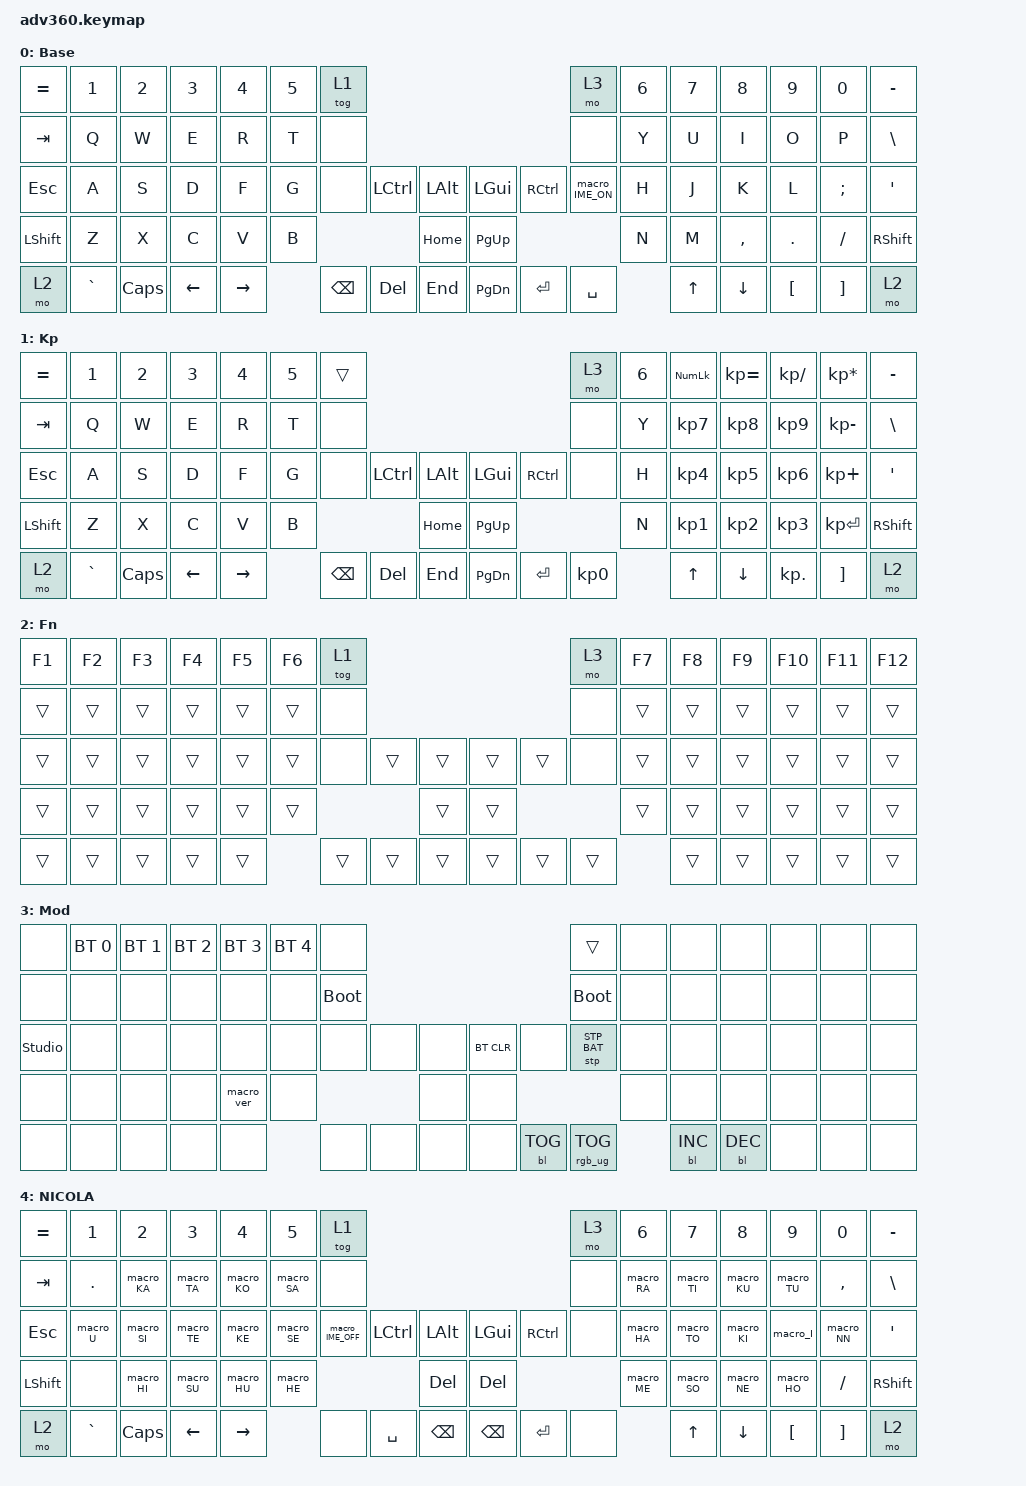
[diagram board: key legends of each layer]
#include <dt-bindings/zmk/stp.h>
#include <behaviors.dtsi>
#include <dt-bindings/zmk/backlight.h>
#include <dt-bindings/zmk/bt.h>
#include <dt-bindings/zmk/keys.h>
#include <dt-bindings/zmk/rgb.h>

/ {
    behaviors {
        #include "macros.dtsi"
      #include "version.dtsi"

        hm: homerow_mods {
            compatible = "zmk,behavior-hold-tap";
            label = "HOMEROW_MODS";
            #binding-cells = <2>;
            tapping-term-ms = <200>;
            quick_tap_ms = <175>;
            flavor = "tap-preferred";
            bindings = <&kp>, <&kp>;
        };
    };

    macros {
        macro_A: macro_A {
            compatible = "zmk,behavior-macro";
            #binding-cells = <0>;
            bindings = <&kp A>;
            label = "MACRO_A";
        };

        macro_I: macro_I {
            compatible = "zmk,behavior-macro";
            #binding-cells = <0>;
            bindings = <&kp I>;
            label = "MACRO_I";
        };

        macro_U: macro_U {
            compatible = "zmk,behavior-macro";
            #binding-cells = <0>;
            bindings = <&kp U>;
            label = "MACRO_U";
        };

        macro_E: macro_E {
            compatible = "zmk,behavior-macro";
            #binding-cells = <0>;
            bindings = <&kp E>;
            label = "MACRO_E";
        };

        macro_O: macro_O {
            compatible = "zmk,behavior-macro";
            #binding-cells = <0>;
            bindings = <&kp O>;
            label = "MACRO_O";
        };

        macro_KA: macro_KA {
            compatible = "zmk,behavior-macro";
            #binding-cells = <0>;
            bindings = <&kp K &kp A>;
            label = "MACRO_KA";
        };

        macro_KI: macro_KI {
            compatible = "zmk,behavior-macro";
            #binding-cells = <0>;
            bindings = <&kp K &kp I>;
            label = "MACRO_KI";
        };

        macro_KU: macro_KU {
            compatible = "zmk,behavior-macro";
            #binding-cells = <0>;
            bindings = <&kp K &kp U>;
            label = "MACRO_KU";
        };

        macro_KE: macro_KE {
            compatible = "zmk,behavior-macro";
            #binding-cells = <0>;
            bindings = <&kp K &kp E>;
            label = "MACRO_KE";
        };

        macro_KO: macro_KO {
            compatible = "zmk,behavior-macro";
            #binding-cells = <0>;
            bindings = <&kp K &kp O>;
            label = "MACRO_KO";
        };

        macro_SA: macro_SA {
            compatible = "zmk,behavior-macro";
            #binding-cells = <0>;
            bindings = <&kp S &kp A>;
            label = "MACRO_SA";
        };

        macro_SI: macro_SI {
            compatible = "zmk,behavior-macro";
            #binding-cells = <0>;
            bindings = <&kp S &kp I>;
            label = "MACRO_SI";
        };

        macro_SU: macro_SU {
            compatible = "zmk,behavior-macro";
            #binding-cells = <0>;
            bindings = <&kp S &kp U>;
            label = "MACRO_SU";
        };

        macro_SE: macro_SE {
            compatible = "zmk,behavior-macro";
            #binding-cells = <0>;
            bindings = <&kp S &kp E>;
            label = "MACRO_SE";
        };

        macro_SO: macro_SO {
            compatible = "zmk,behavior-macro";
            #binding-cells = <0>;
            bindings = <&kp S &kp O>;
            label = "MACRO_SO";
        };

        macro_TA: macro_TA {
            compatible = "zmk,behavior-macro";
            #binding-cells = <0>;
            bindings = <&kp T &kp A>;
            label = "MACRO_TA";
        };

        macro_TI: macro_TI {
            compatible = "zmk,behavior-macro";
            #binding-cells = <0>;
            bindings = <&kp T &kp I>;
            label = "MACRO_TI";
        };

        macro_TU: macro_TU {
            compatible = "zmk,behavior-macro";
            #binding-cells = <0>;
            bindings = <&kp T &kp U>;
            label = "MACRO_TU";
        };

        macro_TE: macro_TE {
            compatible = "zmk,behavior-macro";
            #binding-cells = <0>;
            bindings = <&kp T &kp E>;
            label = "MACRO_TE";
        };

        macro_TO: macro_TO {
            compatible = "zmk,behavior-macro";
            #binding-cells = <0>;
            bindings = <&kp T &kp O>;
            label = "MACRO_TO";
        };

        macro_NA: macro_NA {
            compatible = "zmk,behavior-macro";
            #binding-cells = <0>;
            bindings = <&kp N &kp A>;
            label = "MACRO_NA";
        };

        macro_NI: macro_NI {
            compatible = "zmk,behavior-macro";
            #binding-cells = <0>;
            bindings = <&kp N &kp I>;
            label = "MACRO_NI";
        };

        macro_NU: macro_NU {
            compatible = "zmk,behavior-macro";
            #binding-cells = <0>;
            bindings = <&kp N &kp U>;
            label = "MACRO_NU";
        };

        macro_NE: macro_NE {
            compatible = "zmk,behavior-macro";
            #binding-cells = <0>;
            bindings = <&kp N &kp E>;
            label = "MACRO_NE";
        };

        macro_NO: macro_NO {
            compatible = "zmk,behavior-macro";
            #binding-cells = <0>;
            bindings = <&kp N &kp O>;
            label = "MACRO_NO";
        };

        macro_HA: macro_HA {
            compatible = "zmk,behavior-macro";
            #binding-cells = <0>;
            bindings = <&kp H &kp A>;
            label = "MACRO_HA";
        };

        macro_HI: macro_HI {
            compatible = "zmk,behavior-macro";
            #binding-cells = <0>;
            bindings = <&kp H &kp I>;
            label = "MACRO_HI";
        };

        macro_HU: macro_HU {
            compatible = "zmk,behavior-macro";
            #binding-cells = <0>;
            bindings = <&kp H &kp U>;
            label = "MACRO_HU";
        };

        macro_HE: macro_HE {
            compatible = "zmk,behavior-macro";
            #binding-cells = <0>;
            bindings = <&kp H &kp E>;
            label = "MACRO_HE";
        };

        macro_HO: macro_HO {
            compatible = "zmk,behavior-macro";
            #binding-cells = <0>;
            bindings = <&kp H &kp O>;
            label = "MACRO_HO";
        };

        macro_MA: macro_MA {
            compatible = "zmk,behavior-macro";
            #binding-cells = <0>;
            bindings = <&kp M &kp A>;
            label = "MACRO_MA";
        };

        macro_MI: macro_MI {
            compatible = "zmk,behavior-macro";
            #binding-cells = <0>;
            bindings = <&kp M &kp I>;
            label = "MACRO_MI";
        };

        macro_MU: macro_MU {
            compatible = "zmk,behavior-macro";
            #binding-cells = <0>;
            bindings = <&kp M &kp U>;
            label = "MACRO_MU";
        };

        macro_ME: macro_ME {
            compatible = "zmk,behavior-macro";
            #binding-cells = <0>;
            bindings = <&kp M &kp E>;
            label = "MACRO_ME";
        };

        macro_MO: macro_MO {
            compatible = "zmk,behavior-macro";
            #binding-cells = <0>;
            bindings = <&kp M &kp O>;
            label = "MACRO_MO";
        };

        macro_YA: macro_YA {
            compatible = "zmk,behavior-macro";
            #binding-cells = <0>;
            bindings = <&kp Y &kp A>;
            label = "MACRO_YA";
        };

        macro_YU: macro_YU {
            compatible = "zmk,behavior-macro";
            #binding-cells = <0>;
            bindings = <&kp Y &kp U>;
            label = "MACRO_YU";
        };

        macro_YO: macro_YO {
            compatible = "zmk,behavior-macro";
            #binding-cells = <0>;
            bindings = <&kp Y &kp O>;
            label = "MACRO_YO";
        };

        macro_RA: macro_RA {
            compatible = "zmk,behavior-macro";
            #binding-cells = <0>;
            bindings = <&kp R &kp A>;
            label = "MACRO_RA";
        };

        macro_RI: macro_RI {
            compatible = "zmk,behavior-macro";
            #binding-cells = <0>;
            bindings = <&kp R &kp I>;
            label = "MACRO_RI";
        };

        macro_RU: macro_RU {
            compatible = "zmk,behavior-macro";
            #binding-cells = <0>;
            bindings = <&kp R &kp U>;
            label = "MACRO_RU";
        };

        macro_RE: macro_RE {
            compatible = "zmk,behavior-macro";
            #binding-cells = <0>;
            bindings = <&kp R &kp E>;
            label = "MACRO_RE";
        };

        macro_RO: macro_RO {
            compatible = "zmk,behavior-macro";
            #binding-cells = <0>;
            bindings = <&kp R &kp O>;
            label = "MACRO_RO";
        };

        macro_WA: macro_WA {
            compatible = "zmk,behavior-macro";
            #binding-cells = <0>;
            bindings = <&kp W &kp A>;
            label = "MACRO_WA";
        };

        macro_WO: macro_WO {
            compatible = "zmk,behavior-macro";
            #binding-cells = <0>;
            bindings = <&kp W &kp O>;
            label = "MACRO_WO";
        };

        macro_NN: macro_NN {
            compatible = "zmk,behavior-macro";
            #binding-cells = <0>;
            bindings = <&kp N &kp N>;
            label = "MACRO_NN";
        };

        macro_GA: macro_GA {
            compatible = "zmk,behavior-macro";
            #binding-cells = <0>;
            bindings = <&kp G &kp A>;
            label = "MACRO_GA";
        };

        macro_GI: macro_GI {
            compatible = "zmk,behavior-macro";
            #binding-cells = <0>;
            bindings = <&kp G &kp I>;
            label = "MACRO_GI";
        };

        macro_GU: macro_GU {
            compatible = "zmk,behavior-macro";
            #binding-cells = <0>;
            bindings = <&kp G &kp U>;
            label = "MACRO_GU";
        };

        macro_GE: macro_GE {
            compatible = "zmk,behavior-macro";
            #binding-cells = <0>;
            bindings = <&kp G &kp E>;
            label = "MACRO_GE";
        };

        macro_GO: macro_GO {
            compatible = "zmk,behavior-macro";
            #binding-cells = <0>;
            bindings = <&kp G &kp O>;
            label = "MACRO_GO";
        };

        macro_ZA: macro_ZA {
            compatible = "zmk,behavior-macro";
            #binding-cells = <0>;
            bindings = <&kp Z &kp A>;
            label = "MACRO_ZA";
        };

        macro_ZI: macro_ZI {
            compatible = "zmk,behavior-macro";
            #binding-cells = <0>;
            bindings = <&kp Z &kp I>;
            label = "MACRO_ZI";
        };

        macro_ZU: macro_ZU {
            compatible = "zmk,behavior-macro";
            #binding-cells = <0>;
            bindings = <&kp Z &kp U>;
            label = "MACRO_ZU";
        };

        macro_ZE: macro_ZE {
            compatible = "zmk,behavior-macro";
            #binding-cells = <0>;
            bindings = <&kp Z &kp E>;
            label = "MACRO_ZE";
        };

        macro_ZO: macro_ZO {
            compatible = "zmk,behavior-macro";
            #binding-cells = <0>;
            bindings = <&kp Z &kp O>;
            label = "MACRO_ZO";
        };

        macro_DA: macro_DA {
            compatible = "zmk,behavior-macro";
            #binding-cells = <0>;
            bindings = <&kp D &kp A>;
            label = "MACRO_DA";
        };

        macro_DI: macro_DI {
            compatible = "zmk,behavior-macro";
            #binding-cells = <0>;
            bindings = <&kp D &kp I>;
            label = "MACRO_DI";
        };

        macro_DU: macro_DU {
            compatible = "zmk,behavior-macro";
            #binding-cells = <0>;
            bindings = <&kp D &kp U>;
            label = "MACRO_DU";
        };

        macro_DE: macro_DE {
            compatible = "zmk,behavior-macro";
            #binding-cells = <0>;
            bindings = <&kp D &kp E>;
            label = "MACRO_DE";
        };

        macro_DO: macro_DO {
            compatible = "zmk,behavior-macro";
            #binding-cells = <0>;
            bindings = <&kp D &kp O>;
            label = "MACRO_DO";
        };

        macro_BA: macro_BA {
            compatible = "zmk,behavior-macro";
            #binding-cells = <0>;
            bindings = <&kp B &kp A>;
            label = "MACRO_BA";
        };

        macro_BI: macro_BI {
            compatible = "zmk,behavior-macro";
            #binding-cells = <0>;
            bindings = <&kp B &kp I>;
            label = "MACRO_BI";
        };

        macro_BU: macro_BU {
            compatible = "zmk,behavior-macro";
            #binding-cells = <0>;
            bindings = <&kp B &kp U>;
            label = "MACRO_BU";
        };

        macro_BE: macro_BE {
            compatible = "zmk,behavior-macro";
            #binding-cells = <0>;
            bindings = <&kp B &kp E>;
            label = "MACRO_BE";
        };

        macro_BO: macro_BO {
            compatible = "zmk,behavior-macro";
            #binding-cells = <0>;
            bindings = <&kp B &kp O>;
            label = "MACRO_BO";
        };

        macro_PA: macro_PA {
            compatible = "zmk,behavior-macro";
            #binding-cells = <0>;
            bindings = <&kp P &kp A>;
            label = "MACRO_PA";
        };

        macro_PI: macro_PI {
            compatible = "zmk,behavior-macro";
            #binding-cells = <0>;
            bindings = <&kp P &kp I>;
            label = "MACRO_PI";
        };

        macro_PU: macro_PU {
            compatible = "zmk,behavior-macro";
            #binding-cells = <0>;
            bindings = <&kp P &kp U>;
            label = "MACRO_PU";
        };

        macro_PE: macro_PE {
            compatible = "zmk,behavior-macro";
            #binding-cells = <0>;
            bindings = <&kp P &kp E>;
            label = "MACRO_PE";
        };

        macro_PO: macro_PO {
            compatible = "zmk,behavior-macro";
            #binding-cells = <0>;
            bindings = <&kp P &kp O>;
            label = "MACRO_PO";
        };

        macro_VU: macro_VU {
            compatible = "zmk,behavior-macro";
            #binding-cells = <0>;
            bindings = <&kp V &kp U>;
            label = "MACRO_VU";
        };

        macro_LA: macro_LA {
            compatible = "zmk,behavior-macro";
            #binding-cells = <0>;
            bindings = <&kp L &kp A>;
            label = "MACRO_LA";
        };

        macro_LI: macro_LI {
            compatible = "zmk,behavior-macro";
            #binding-cells = <0>;
            bindings = <&kp L &kp I>;
            label = "MACRO_LI";
        };

        macro_LU: macro_LU {
            compatible = "zmk,behavior-macro";
            #binding-cells = <0>;
            bindings = <&kp L &kp U>;
            label = "MACRO_LU";
        };

        macro_LE: macro_LE {
            compatible = "zmk,behavior-macro";
            #binding-cells = <0>;
            bindings = <&kp L &kp E>;
            label = "MACRO_LE";
        };

        macro_LO: macro_LO {
            compatible = "zmk,behavior-macro";
            #binding-cells = <0>;
            bindings = <&kp L &kp O>;
            label = "MACRO_LO";
        };

        macro_LYA: macro_LYA {
            compatible = "zmk,behavior-macro";
            #binding-cells = <0>;
            bindings = <&kp L &kp Y &kp A>;
            label = "MACRO_LYA";
        };

        macro_LYU: macro_LYU {
            compatible = "zmk,behavior-macro";
            #binding-cells = <0>;
            bindings = <&kp L &kp Y &kp U>;
            label = "MACRO_LYU";
        };

        macro_LYO: macro_LYO {
            compatible = "zmk,behavior-macro";
            #binding-cells = <0>;
            bindings = <&kp L &kp Y &kp O>;
            label = "MACRO_LYO";
        };

        macro_LTU: macro_LTU {
            compatible = "zmk,behavior-macro";
            #binding-cells = <0>;
            bindings = <&kp L &kp T &kp U>;
            label = "MACRO_LTU";
        };

        macro_IME_ON: macro_IME_ON {
            compatible = "zmk,behavior-macro";
            #binding-cells = <0>;
            bindings = <&kp INTERNATIONAL_4 &to 4>;
            label = "MACRO_IME_ON";
        };

        macro_IME_OFF: macro_IME_OFF {
            compatible = "zmk,behavior-macro";
            #binding-cells = <0>;
            bindings = <&kp INTERNATIONAL_5 &to 0>;
            label = "MACRO_IME_OFF";
        };
    };

    combos {
        compatible = "zmk,combos";

        combo_LA {
            bindings = <&macro_LA>;
            key-positions = <15 65>;
            timeout-ms = <50>;
            layers = <4>;
        };

        combo_E {
            bindings = <&macro_E>;
            key-positions = <16 65>;
            timeout-ms = <50>;
            layers = <4>;
        };

        combo_RI {
            bindings = <&macro_RI>;
            key-positions = <65 17>;
            timeout-ms = <50>;
            layers = <4>;
        };

        combo_LYA {
            bindings = <&macro_LYA>;
            key-positions = <65 18>;
            timeout-ms = <50>;
            layers = <4>;
        };

        combo_RE {
            bindings = <&macro_RE>;
            key-positions = <65 19>;
            timeout-ms = <50>;
            layers = <4>;
        };

        combo_YO {
            bindings = <&macro_YO>;
            key-positions = <22 70>;
            timeout-ms = <50>;
            layers = <4>;
        };

        combo_NI {
            bindings = <&macro_NI>;
            key-positions = <70 23>;
            timeout-ms = <50>;
            layers = <4>;
        };

        combo_RU {
            bindings = <&macro_RU>;
            key-positions = <70 24>;
            timeout-ms = <50>;
            layers = <4>;
        };

        combo_MA {
            bindings = <&macro_MA>;
            key-positions = <70 25>;
            timeout-ms = <50>;
            layers = <4>;
        };

        combo_LE {
            bindings = <&macro_LE>;
            key-positions = <70 26>;
            timeout-ms = <50>;
            layers = <4>;
        };

        combo_WO {
            bindings = <&macro_WO>;
            key-positions = <29 65>;
            timeout-ms = <50>;
            layers = <4>;
        };

        combo_A {
            bindings = <&macro_A>;
            key-positions = <65 30>;
            timeout-ms = <50>;
            layers = <4>;
        };

        combo_NA {
            bindings = <&macro_NA>;
            key-positions = <65 31>;
            timeout-ms = <50>;
            layers = <4>;
        };

        combo_LYU {
            bindings = <&macro_LYU>;
            key-positions = <65 32>;
            timeout-ms = <50>;
            layers = <4>;
        };

        combo_MO {
            bindings = <&macro_MO>;
            key-positions = <65 33>;
            timeout-ms = <50>;
            layers = <4>;
        };

        combo_MI {
            bindings = <&macro_MI>;
            key-positions = <40 70>;
            timeout-ms = <50>;
            layers = <4>;
        };

        combo_O {
            bindings = <&macro_O>;
            key-positions = <70 41>;
            timeout-ms = <50>;
            layers = <4>;
        };

        combo_NO {
            bindings = <&macro_NO>;
            key-positions = <70 42>;
            timeout-ms = <50>;
            layers = <4>;
        };

        combo_LYO {
            bindings = <&macro_LYO>;
            key-positions = <70 43>;
            timeout-ms = <50>;
            layers = <4>;
        };

        combo_LTU {
            bindings = <&macro_LTU>;
            key-positions = <70 44>;
            timeout-ms = <50>;
            layers = <4>;
        };

        combo_LU {
            bindings = <&macro_LU>;
            key-positions = <47 65>;
            timeout-ms = <50>;
            layers = <4>;
        };

        combo_HYPHEN {
            bindings = <&kp MINUS>;
            key-positions = <65 48>;
            timeout-ms = <50>;
            layers = <4>;
        };

        combo_RO {
            bindings = <&macro_RO>;
            key-positions = <65 49>;
            timeout-ms = <50>;
            layers = <4>;
        };

        combo_YA {
            bindings = <&macro_YA>;
            key-positions = <65 50>;
            timeout-ms = <50>;
            layers = <4>;
        };

        combo_LI {
            bindings = <&macro_LI>;
            key-positions = <65 51>;
            timeout-ms = <50>;
            layers = <4>;
        };

        combo_NU {
            bindings = <&macro_NU>;
            key-positions = <54 70>;
            timeout-ms = <50>;
            layers = <4>;
        };

        combo_YU {
            bindings = <&macro_YU>;
            key-positions = <70 55>;
            timeout-ms = <50>;
            layers = <4>;
        };

        combo_MU {
            bindings = <&macro_MU>;
            key-positions = <70 56>;
            timeout-ms = <50>;
            layers = <4>;
        };

        combo_WA {
            bindings = <&macro_WA>;
            key-positions = <70 57>;
            timeout-ms = <50>;
            layers = <4>;
        };

        combo_LO {
            bindings = <&macro_LO>;
            key-positions = <70 58>;
            timeout-ms = <50>;
            layers = <4>;
        };

        combo_MARU {
            bindings = <&none>;
            key-positions = <70 15>;
            timeout-ms = <50>;
            layers = <4>;
        };

        combo_GA {
            bindings = <&macro_GA>;
            key-positions = <70 16>;
            timeout-ms = <50>;
            layers = <4>;
        };

        combo_DA {
            bindings = <&macro_DA>;
            key-positions = <70 17>;
            timeout-ms = <50>;
            layers = <4>;
        };

        combo_GO {
            bindings = <&macro_GO>;
            key-positions = <70 18>;
            timeout-ms = <50>;
            layers = <4>;
        };

        combo_ZA {
            bindings = <&macro_ZA>;
            key-positions = <70 19>;
            timeout-ms = <50>;
            layers = <4>;
        };

        combo_PA {
            bindings = <&macro_PA>;
            key-positions = <22 65>;
            timeout-ms = <50>;
            layers = <4>;
        };

        combo_DI {
            bindings = <&macro_DI>;
            key-positions = <65 23>;
            timeout-ms = <50>;
            layers = <4>;
        };

        combo_GU {
            bindings = <&macro_GU>;
            key-positions = <65 24>;
            timeout-ms = <50>;
            layers = <4>;
        };

        combo_DU {
            bindings = <&macro_DU>;
            key-positions = <65 25>;
            timeout-ms = <50>;
            layers = <4>;
        };

        combo_PI {
            bindings = <&macro_PI>;
            key-positions = <65 26>;
            timeout-ms = <50>;
            layers = <4>;
        };

        combo_VU {
            bindings = <&macro_VU>;
            key-positions = <29 70>;
            timeout-ms = <50>;
            layers = <4>;
        };

        combo_ZI {
            bindings = <&macro_ZI>;
            key-positions = <70 30>;
            timeout-ms = <50>;
            layers = <4>;
        };

        combo_DE {
            bindings = <&macro_DE>;
            key-positions = <70 31>;
            timeout-ms = <50>;
            layers = <4>;
        };

        combo_GE {
            bindings = <&macro_GE>;
            key-positions = <70 32>;
            timeout-ms = <50>;
            layers = <4>;
        };

        combo_ZE {
            bindings = <&macro_ZE>;
            key-positions = <70 33>;
            timeout-ms = <50>;
            layers = <4>;
        };

        combo_BA {
            bindings = <&macro_BA>;
            key-positions = <40 65>;
            timeout-ms = <50>;
            layers = <4>;
        };

        combo_DO {
            bindings = <&macro_DO>;
            key-positions = <65 41>;
            timeout-ms = <50>;
            layers = <4>;
        };

        combo_GI {
            bindings = <&macro_GI>;
            key-positions = <65 42>;
            timeout-ms = <50>;
            layers = <4>;
        };

        combo_PO {
            bindings = <&macro_PO>;
            key-positions = <65 43>;
            timeout-ms = <50>;
            layers = <4>;
        };

        combo_NONE1 {
            bindings = <&none>;
            key-positions = <65 44>;
            timeout-ms = <50>;
            layers = <4>;
        };

        combo_NONE2 {
            bindings = <&none>;
            key-positions = <47 70>;
            timeout-ms = <50>;
            layers = <4>;
        };

        combo_BI {
            bindings = <&macro_BI>;
            key-positions = <70 48>;
            timeout-ms = <50>;
            layers = <4>;
        };

        combo_ZU {
            bindings = <&macro_ZU>;
            key-positions = <70 49>;
            timeout-ms = <50>;
            layers = <4>;
        };

        combo_BU {
            bindings = <&macro_BU>;
            key-positions = <70 50>;
            timeout-ms = <50>;
            layers = <4>;
        };

        combo_BE {
            bindings = <&macro_BE>;
            key-positions = <70 51>;
            timeout-ms = <50>;
            layers = <4>;
        };

        combo_PU {
            bindings = <&macro_PU>;
            key-positions = <54 65>;
            timeout-ms = <50>;
            layers = <4>;
        };

        combo_ZO {
            bindings = <&macro_ZO>;
            key-positions = <65 55>;
            timeout-ms = <50>;
            layers = <4>;
        };

        combo_PE {
            bindings = <&macro_PE>;
            key-positions = <65 56>;
            timeout-ms = <50>;
            layers = <4>;
        };

        combo_BO {
            bindings = <&macro_BO>;
            key-positions = <65 57>;
            timeout-ms = <50>;
            layers = <4>;
        };

        combo_TENTEN {
            bindings = <&none>;
            key-positions = <65 58>;
            timeout-ms = <50>;
            layers = <4>;
        };
    };

    keymap {
        compatible = "zmk,keymap";

        default_layer {
            display-name = "Base";
            bindings = <
&kp EQUAL  &kp N1     &kp N2    &kp N3    &kp N4     &kp N5  &tog 1                                                   &mo 3          &kp N6  &kp N7  &kp N8     &kp N9    &kp N0    &kp MINUS
&kp TAB    &kp Q      &kp W     &kp E     &kp R      &kp T   &none                                                    &none          &kp Y   &kp U   &kp I      &kp O     &kp P     &kp BSLH
&kp ESC    &kp A      &kp S     &kp D     &kp F      &kp G   &none     &kp LCTRL  &kp LALT      &kp LGUI   &kp RCTRL  &macro_IME_ON  &kp H   &kp J   &kp K      &kp L     &kp SEMI  &kp SQT
&kp LSHFT  &kp Z      &kp X     &kp C     &kp V      &kp B                        &kp HOME      &kp PG_UP                            &kp N   &kp M   &kp COMMA  &kp DOT   &kp FSLH  &kp RSHFT
&mo 2      &kp GRAVE  &kp CAPS  &kp LEFT  &kp RIGHT          &kp BSPC  &kp DEL    &kp END       &kp PG_DN  &kp ENTER  &kp SPACE              &kp UP  &kp DOWN   &kp LBKT  &kp RBKT  &mo 2
            >;
        };

        keypad {
            display-name = "Kp";
            bindings = <
&kp EQUAL  &kp N1     &kp N2    &kp N3    &kp N4     &kp N5  &trans                                                   &mo 3      &kp N6  &kp KP_NUM  &kp KP_EQUAL  &kp KP_DIVIDE  &kp KP_MULTIPLY  &kp MINUS
&kp TAB    &kp Q      &kp W     &kp E     &kp R      &kp T   &none                                                    &none      &kp Y   &kp KP_N7   &kp KP_N8     &kp KP_N9      &kp KP_MINUS     &kp BSLH
&kp ESC    &kp A      &kp S     &kp D     &kp F      &kp G   &none     &kp LCTRL  &kp LALT      &kp LGUI   &kp RCTRL  &none      &kp H   &kp KP_N4   &kp KP_N5     &kp KP_N6      &kp KP_PLUS      &kp SQT
&kp LSHFT  &kp Z      &kp X     &kp C     &kp V      &kp B                        &kp HOME      &kp PG_UP                        &kp N   &kp KP_N1   &kp KP_N2     &kp KP_N3      &kp KP_ENTER     &kp RSHFT
&mo 2      &kp GRAVE  &kp CAPS  &kp LEFT  &kp RIGHT          &kp BSPC  &kp DEL    &kp END       &kp PG_DN  &kp ENTER  &kp KP_N0          &kp UP      &kp DOWN      &kp KP_DOT     &kp RBKT         &mo 2
            >;
        };

        fn {
            display-name = "Fn";
            bindings = <
&kp F1  &kp F2  &kp F3  &kp F4  &kp F5  &kp F6  &tog 1                                      &mo 3   &kp F7  &kp F8  &kp F9  &kp F10  &kp F11  &kp F12
&trans  &trans  &trans  &trans  &trans  &trans  &none                                       &none   &trans  &trans  &trans  &trans   &trans   &trans
&trans  &trans  &trans  &trans  &trans  &trans  &none   &trans  &trans      &trans  &trans  &none   &trans  &trans  &trans  &trans   &trans   &trans
&trans  &trans  &trans  &trans  &trans  &trans                  &trans      &trans                  &trans  &trans  &trans  &trans   &trans   &trans
&trans  &trans  &trans  &trans  &trans          &trans  &trans  &trans      &trans  &trans  &trans          &trans  &trans  &trans   &trans   &trans
            >;
        };

        mod {
            display-name = "Mod";
            bindings = <
&none           &bt BT_SEL 0  &bt BT_SEL 1  &bt BT_SEL 2  &bt BT_SEL 3  &bt BT_SEL 4  &none                                                  &trans           &none  &none       &none       &none  &none  &none
&none           &none         &none         &none         &none         &none         &bootloader                                            &bootloader      &none  &none       &none       &none  &none  &none
&studio_unlock  &none         &none         &none         &none         &none         &none        &none  &none      &bt BT_CLR  &none       &stp STP_BAT     &none  &none       &none       &none  &none  &none
&none           &none         &none         &none         &macro_ver    &none                             &none      &none                                    &none  &none       &none       &none  &none  &none
&none           &none         &none         &none         &none                       &none        &none  &none      &none       &bl BL_TOG  &rgb_ug RGB_TOG         &bl BL_INC  &bl BL_DEC  &none  &none  &none
            >;
        };

        NICOLA {
            display-name = "NICOLA";
            bindings = <
&kp EQUAL  &kp N1      &kp N2     &kp N3     &kp N4     &kp N5     &tog 1                                                                  &mo 3  &kp N6     &kp N7     &kp N8     &kp N9     &kp N0     &kp MINUS
&kp TAB    &kp PERIOD  &macro_KA  &macro_TA  &macro_KO  &macro_SA  &none                                                                   &none  &macro_RA  &macro_TI  &macro_KU  &macro_TU  &kp COMMA  &kp BSLH
&kp ESC    &macro_U    &macro_SI  &macro_TE  &macro_KE  &macro_SE  &macro_IME_OFF  &kp LCTRL  &kp LALT           &kp LGUI       &kp RCTRL  &none  &macro_HA  &macro_TO  &macro_KI  &macro_I   &macro_NN  &kp SQT
&kp LSHFT  &none       &macro_HI  &macro_SU  &macro_HU  &macro_HE                             &kp DELETE         &kp DELETE                       &macro_ME  &macro_SO  &macro_NE  &macro_HO  &kp FSLH   &kp RSHFT
&mo 2      &kp GRAVE   &kp CAPS   &kp LEFT   &kp RIGHT             &none           &kp SPACE  &kp BACKSPACE      &kp BACKSPACE  &kp ENTER  &none             &kp UP     &kp DOWN   &kp LBKT   &kp RBKT   &mo 2
            >;
        };
    };
};
